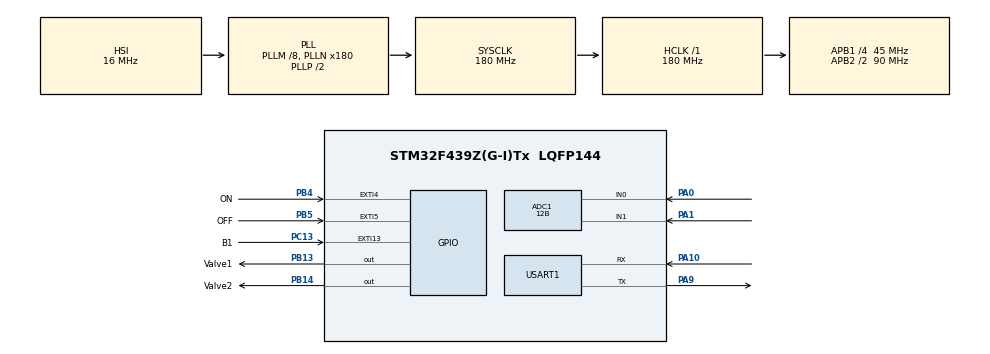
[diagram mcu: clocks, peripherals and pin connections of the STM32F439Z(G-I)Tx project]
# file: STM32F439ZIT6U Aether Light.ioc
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ADC1.Channel-0\#ChannelRegularConversion=ADC_CHANNEL_0
ADC1.ContinuousConvMode=ENABLE
ADC1.DMAContinuousRequests=ENABLE
ADC1.DiscontinuousConvMode=DISABLE
ADC1.EOCSelection=ADC_EOC_SEQ_CONV
ADC1.EnableAnalogWatchDog=false
ADC1.InjNumberOfConversion=0
ADC1.NbrOfConversion=1
ADC1.NbrOfConversionFlag=1
ADC1.Rank-0\#ChannelRegularConversion=1
ADC1.Resolution=ADC_RESOLUTION_12B
ADC1.SamplingTime-0\#ChannelRegularConversion=ADC_SAMPLETIME_3CYCLES
ADC1.ScanConvMode=ENABLE
ADC1.master=1
Dma.ADC1.0.Direction=DMA_PERIPH_TO_MEMORY
Dma.ADC1.0.FIFOMode=DMA_FIFOMODE_DISABLE
Dma.ADC1.0.Instance=DMA2_Stream0
Dma.ADC1.0.MemDataAlignment=DMA_MDATAALIGN_HALFWORD
Dma.ADC1.0.MemInc=DMA_MINC_ENABLE
Dma.ADC1.0.Mode=DMA_CIRCULAR
Dma.ADC1.0.PeriphDataAlignment=DMA_PDATAALIGN_HALFWORD
Dma.ADC1.0.PeriphInc=DMA_PINC_DISABLE
Dma.ADC1.0.Priority=DMA_PRIORITY_LOW
Dma.Request0=ADC1
Dma.Request1=USART1_RX
Dma.Request2=USART1_TX
Dma.USART1_RX.1.Direction=DMA_PERIPH_TO_MEMORY
Dma.USART1_RX.1.FIFOMode=DMA_FIFOMODE_DISABLE
Dma.USART1_RX.1.Instance=DMA2_Stream2
Dma.USART1_RX.1.MemDataAlignment=DMA_MDATAALIGN_BYTE
Dma.USART1_RX.1.MemInc=DMA_MINC_ENABLE
Dma.USART1_RX.1.Mode=DMA_NORMAL
Dma.USART1_RX.1.PeriphDataAlignment=DMA_PDATAALIGN_BYTE
Dma.USART1_RX.1.PeriphInc=DMA_PINC_DISABLE
Dma.USART1_RX.1.Priority=DMA_PRIORITY_LOW
Dma.USART1_TX.2.Direction=DMA_MEMORY_TO_PERIPH
Dma.USART1_TX.2.FIFOMode=DMA_FIFOMODE_DISABLE
Dma.USART1_TX.2.Instance=DMA2_Stream7
Dma.USART1_TX.2.MemDataAlignment=DMA_MDATAALIGN_BYTE
Dma.USART1_TX.2.MemInc=DMA_MINC_ENABLE
Dma.USART1_TX.2.Mode=DMA_NORMAL
Dma.USART1_TX.2.PeriphDataAlignment=DMA_PDATAALIGN_BYTE
Dma.USART1_TX.2.PeriphInc=DMA_PINC_DISABLE
Dma.USART1_TX.2.Priority=DMA_PRIORITY_LOW
Mcu.Family=STM32F4
Mcu.Name=STM32F439Z(G-I)Tx
Mcu.Package=LQFP144
NVIC.ADC_IRQn=true\:0\:0\:false\:false\:true\:true\:true
NVIC.DMA2_Stream0_IRQn=true\:1\:0\:true\:false\:true\:false\:true
NVIC.DMA2_Stream2_IRQn=true\:1\:0\:true\:false\:true\:false\:true
NVIC.DMA2_Stream7_IRQn=true\:1\:0\:true\:false\:true\:false\:true
NVIC.EXTI15_10_IRQn=true\:0\:0\:true\:false\:true\:true\:true
NVIC.EXTI4_IRQn=true\:0\:0\:false\:false\:true\:true\:true
NVIC.EXTI9_5_IRQn=true\:0\:0\:false\:false\:true\:true\:true
NVIC.PriorityGroup=NVIC_PRIORITYGROUP_4
NVIC.TIM3_IRQn=true\:0\:0\:false\:false\:true\:true\:true
NVIC.USART1_IRQn=true\:1\:0\:true\:false\:true\:true\:true
PA0/WKUP.Signal=ADCx_IN0
PA1.Signal=ADCx_IN1
PA10.Mode=Asynchronous
PA10.Signal=USART1_RX
PA9.Mode=Asynchronous
PA9.Signal=USART1_TX
PB13.GPIO_Label=Valve1
PB13.Signal=GPIO_Output
PB14.GPIO_Label=Valve2
PB14.Signal=GPIO_Output
PB4.GPIO_Label=ON
PB4.GPIO_PuPd=GPIO_PULLDOWN
PB4.Signal=GPXTI4
PB5.GPIO_Label=OFF
PB5.GPIO_PuPd=GPIO_PULLDOWN
PB5.Signal=GPXTI5
PC13.GPIO_Label=B1
PC13.GPIO_PuPd=GPIO_PULLDOWN
PC13.Signal=GPXTI13
ProjectManager.HeapSize=0x200
ProjectManager.StackSize=0x400
ProjectManager.TargetToolchain=STM32CubeIDE
RCC.48MHZClocksFreq_Value=90000000
RCC.AHBFreq_Value=180000000
RCC.APB1CLKDivider=RCC_HCLK_DIV4
RCC.APB1Freq_Value=45000000
RCC.APB1TimFreq_Value=90000000
RCC.APB2CLKDivider=RCC_HCLK_DIV2
RCC.APB2Freq_Value=90000000
RCC.APB2TimFreq_Value=180000000
RCC.CortexFreq_Value=180000000
RCC.HCLKFreq_Value=180000000
RCC.HSE_VALUE=25000000
RCC.HSI_VALUE=16000000
RCC.LSE_VALUE=32768
RCC.PLLM=8
RCC.PLLN=180
RCC.SYSCLKFreq_VALUE=180000000
RCC.SYSCLKSource=RCC_SYSCLKSOURCE_PLLCLK
RCC.VCOOutputFreq_Value=360000000
SH.ADCx_IN0.0=ADC1_IN0,IN0
SH.ADCx_IN1.0=ADC1_IN1,IN1
TIM3.Period=8000
TIM3.TIM_MasterOutputTrigger=TIM_TRGO_RESET
USART1.Parity=PARITY_EVEN
USART1.StopBits=STOPBITS_2
USART1.VirtualMode=VM_ASYNC
USART1.WordLength=WORDLENGTH_9B
VP_RTC_VS_RTC_Activate.Mode=RTC_Enabled
VP_TIM3_VS_ClockSourceINT.Mode=Internal
board=custom

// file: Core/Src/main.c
/* USER CODE BEGIN Header */
/*
------------------------------------------------------------------------------
   Project	: Ventilator control system
   File     : main.c
   Brief    : Source file for the main.c file. This software was developed
   	   	   	  on the NUCLEO F439ZI development board.
   Author 	: Nicholas Antoniades
------------------------------------------------------------------------------
*/
/* USER CODE END Header */
#include "main.h"
#include "adc.h"
#include "dma.h"
#include "rtc.h"
#include "tim.h"
#include "usart.h"
#include "gpio.h"

/* USER CODE BEGIN Includes */
#include <string.h>
#include <stdio.h>
#include <math.h>
/* USER CODE END Includes */

void SystemClock_Config(void);

/* USER CODE BEGIN 0 */

// Variables to be initialized for UART: HMI
#define HMIBufferSize 12			  		 // UART buffer size
uint8_t HMI_tx_buff[HMIBufferSize] = {0};	 // UART Transmit buffer
uint8_t HMI_rx_buff[HMIBufferSize] = {0};	 // UART Receive buffer

// Variables to initialized for ADC
#define  numADCchannels 1 		       // Set this value to be the number of channels
uint32_t value_adc[numADCchannels];    // Buffer size, 32 bit for 12 bit ADC resolution
float pressure;						   // Variable to hold the ADC value for pressure

// Variables to be initialized for timer interrupts
uint8_t toggleValue;

// Variables required for functions
// Convert to 8-bit
uint8_t eightBitResult[4];

//serial comms
uint8_t buf[12];

// Control
uint8_t run = 0;

/* USER CODE END 0 */

int main(void)
{

  /* MCU Configuration--------------------------------------------------------*/

  /* Reset of all peripherals, Initializes the Flash interface and the Systick. */
  HAL_Init();

  /* Configure the system clock */
  SystemClock_Config();

  /* Initialize all configured peripherals */
  MX_GPIO_Init();
  MX_DMA_Init();
  MX_ADC1_Init();
  MX_USART1_UART_Init();
  MX_RTC_Init();
  MX_TIM3_Init();
  /* USER CODE BEGIN 2 */

  while(run == 0){
	  __NOP();
  }

  htim3.Instance = TIM3;
  htim3.Init.Prescaler = 13000;
  if (HAL_TIM_Base_Init(&htim3) != HAL_OK)
  {
    Error_Handler();
  }
  HAL_TIM_Base_Start_IT(&htim3);

  // Setting initial valve conditions
  HAL_GPIO_WritePin(GPIOB, Valve1_Pin, 0);
  HAL_GPIO_WritePin(GPIOB, Valve2_Pin, 1);
  /* USER CODE END 2 */

  /* Infinite loop */
  /* USER CODE BEGIN WHILE */

  while (1)
  {

	  HAL_Delay(50);

	// Toggling DMA streams for messaging and reading ADC values
	if(toggleValue == 1){
		HAL_ADC_Stop_DMA(&hadc1); 		// Close ADC DMA stream
		UARTSendDMA(eightBitResult, pressure, HMI_tx_buff, HMI_rx_buff);
		toggleValue = 0;
	}else{
		HAL_UART_DMAStop(&huart1); // Close UART DMA stream
		HAL_ADC_Start_DMA(&hadc1, value_adc,numADCchannels);
		toggleValue = 1;
	}
  }
    /* USER CODE END WHILE */

}

void SystemClock_Config(void)
{
  RCC_OscInitTypeDef RCC_OscInitStruct = {0};
  RCC_ClkInitTypeDef RCC_ClkInitStruct = {0};
  RCC_PeriphCLKInitTypeDef PeriphClkInitStruct = {0};

  /** Configure the main internal regulator output voltage
  */
  __HAL_RCC_PWR_CLK_ENABLE();
  __HAL_PWR_VOLTAGESCALING_CONFIG(PWR_REGULATOR_VOLTAGE_SCALE1);
  /** Initializes the RCC Oscillators according to the specified parameters
  * in the RCC_OscInitTypeDef structure.
  */
  RCC_OscInitStruct.OscillatorType = RCC_OSCILLATORTYPE_HSI|RCC_OSCILLATORTYPE_LSI;
  RCC_OscInitStruct.HSIState = RCC_HSI_ON;
  RCC_OscInitStruct.HSICalibrationValue = RCC_HSICALIBRATION_DEFAULT;
  RCC_OscInitStruct.LSIState = RCC_LSI_ON;
  RCC_OscInitStruct.PLL.PLLState = RCC_PLL_ON;
  RCC_OscInitStruct.PLL.PLLSource = RCC_PLLSOURCE_HSI;
  RCC_OscInitStruct.PLL.PLLM = 8;
  RCC_OscInitStruct.PLL.PLLN = 180;
  RCC_OscInitStruct.PLL.PLLP = RCC_PLLP_DIV2;
  RCC_OscInitStruct.PLL.PLLQ = 4;
  if (HAL_RCC_OscConfig(&RCC_OscInitStruct) != HAL_OK)
  {
    Error_Handler();
  }
  /** Activate the Over-Drive mode
  */
  if (HAL_PWREx_EnableOverDrive() != HAL_OK)
  {
    Error_Handler();
  }
  /** Initializes the CPU, AHB and APB buses clocks
  */
  RCC_ClkInitStruct.ClockType = RCC_CLOCKTYPE_HCLK|RCC_CLOCKTYPE_SYSCLK
                              |RCC_CLOCKTYPE_PCLK1|RCC_CLOCKTYPE_PCLK2;
  RCC_ClkInitStruct.SYSCLKSource = RCC_SYSCLKSOURCE_PLLCLK;
  RCC_ClkInitStruct.AHBCLKDivider = RCC_SYSCLK_DIV1;
  RCC_ClkInitStruct.APB1CLKDivider = RCC_HCLK_DIV4;
  RCC_ClkInitStruct.APB2CLKDivider = RCC_HCLK_DIV2;

  if (HAL_RCC_ClockConfig(&RCC_ClkInitStruct, FLASH_LATENCY_5) != HAL_OK)
  {
    Error_Handler();
  }
  PeriphClkInitStruct.PeriphClockSelection = RCC_PERIPHCLK_RTC;
  PeriphClkInitStruct.RTCClockSelection = RCC_RTCCLKSOURCE_LSI;
  if (HAL_RCCEx_PeriphCLKConfig(&PeriphClkInitStruct) != HAL_OK)
  {
    Error_Handler();
  }
}

/* USER CODE BEGIN 4 */
void HAL_TIM_PeriodElapsedCallback(TIM_HandleTypeDef *htim){

	// Code to run inside of handler
	HAL_GPIO_TogglePin(GPIOB, Valve1_Pin);
	HAL_GPIO_TogglePin(GPIOB, Valve2_Pin);
	// Start interrupt again
	HAL_TIM_Base_Start_IT(&htim3);
}

void HAL_GPIO_EXTI_Callback( uint16_t GPIO_Pin){
	switch(GPIO_Pin){

		case ON_Pin:
			 run = 1;
		break;

		case OFF_Pin:

			__NOP();
		break;
	}
}

void UARTSendDMA(uint8_t eightBitResult[4], float pressure,	uint8_t HMI_tx_buff[HMIBufferSize], uint8_t HMI_rx_buff[HMIBufferSize]) {
	// Pressure value for comms
	CTBVTFEBV(eightBitResult, (uint16_t) pressure);
	HMI_tx_buff[0] = eightBitResult[0];
	HMI_tx_buff[1] = eightBitResult[1];
	HMI_tx_buff[11] = 255; // Good message check
	HAL_UART_Transmit(&huart1, HMI_tx_buff, HMIBufferSize, 0XFF);

	//HAL_UART_Transmit_DMA(&huart1, HMI_tx_buff, HMIBufferSize); // Send
	//HAL_UART_Receive_DMA(&huart1, HMI_rx_buff, HMIBufferSize); // Receive
}
void CTBVTFEBV(uint8_t *eightBitresult,uint32_t value){  //Convert a 32 bit value to 4 bytes
	uint8_t eightBitpart1 = 0;
	uint8_t eightBitpart2 = 0;
	uint8_t eightBitpart3 = 0;
	uint8_t eightBitpart4 = 0;
	int counter = 0;
    int digit;

	while (value > 0) {
	 digit = value % 10; // e.g. 13 % 10 = 3
	 switch(counter){
		 case 0:
			 eightBitpart1 = digit; // e.g. = 3
	 	 	 break;
		 case 1:
			 eightBitpart1 = eightBitpart1 + digit*10 ; // e.g. = 3 = 1*10
	 	 	 break;
		 case 2:
			 eightBitpart2 = digit;
	 	 	 break;
		 case 3:
			 eightBitpart2 = eightBitpart2 + digit*10;
	 	 	 break;
		 case 4:
			 eightBitpart3 = digit;
	 	 	 break;
		 case 5:
			 eightBitpart3 = eightBitpart3 + digit*10 ;
	 	 	 break;
		 case 6:
			 eightBitpart4 = digit;
	 	 	 break;
		 case 7:
			 eightBitpart4 = eightBitpart3 + digit*10;
	 	 	 break;
		default:
		 	 break;
	 }
	 counter ++;
	 value /= 10;
	}
	eightBitresult[0] = eightBitpart1;
	eightBitresult[1] = eightBitpart2;
	eightBitresult[2] = eightBitpart3;
	eightBitresult[3] = eightBitpart4;
}
uint8_t CheckSum(uint8_t CommandArray[]){
	uint8_t CheckSum = 0;

	for(int i = 0; i<8; i ++){
		CheckSum += CommandArray[i];
	}
	return CheckSum;
}
void HoneyWellPressure(uint8_t PressureBuffer[4], uint8_t StatusHoneywell,uint8_t PressureHoneywell, uint8_t TempHoneywell) {
	// Reading in from Honeywell pressure sensor

	// *** fix this ***//
	I2C_read(0x28 << 1, 0x28 << 1, PressureBuffer, PressureBuffer);		  // Read in status
	StatusHoneywell = (PressureBuffer[0] & 0xc0);
	PressureHoneywell = (((PressureBuffer[0] << 8) | PressureBuffer[1])); // Read in Pressure
	TempHoneywell = (((PressureBuffer[3] << 8) | PressureBuffer[4])); 	  // Read in Temperature
}
void HAL_ADC_ConvCpltCallback(ADC_HandleTypeDef* hadc){
	// Function that is called at the end of each ADC conversion.
	pressure = (((float)value_adc[0]*10)/(4096-2055)-10.0686)*10.1972;  // Pressure in kPa -> cm H2O
	//pressure = value_adc[0];
	HAL_ADC_Stop_DMA(&hadc1);
}

void HAL_UART_TxCpltCallback (UART_HandleTypeDef *huart){
	//HAL_UART_Start_DMA(&huart1, HMI_rx_buff, HMIBufferSize);
	//HAL_UART_DMAStop(&huart1);

	if(huart == &huart1){
	  //HAL_GPIO_WritePin(UART_RSE_GPIO_Port,UART_RSE_Pin, 0); // Toggle RSE pin to send message over RS485
	}
}
void HAL_UART_RxCpltCallback(UART_HandleTypeDef *huart){
	//HAL_UART_Receive_DMA(&huart1, HMI_rx_buff, HMIBufferSize);

	// Messages recieved from TMCL
	if(huart == &huart1){
		//HAL_GPIO_WritePin(UART_RSE_GPIO_Port,UART_RSE_Pin, GPIO_PIN_SET); // Toggle RSE pin to send message over RS485
	}

    // Messages received from HMI
	if(huart == &huart1){
		   switch (HMI_rx_buff[0])
		   {
		       // Start ventilation
			   case 0:
					  break;

			   // Stop and reset
			   case 1:
					break;

			   //Update ventilation states
			   case 2:
					break;

			   // Calibrate system
			   case 3:
					break;

			   // Return current system state
			   case 4:
				   break;

			   default:	break;
		   }
	}

	HAL_UART_DMAStop(&huart1);	// Close DMA stream
}

/* USER CODE END 4 */

void Error_Handler(void)
{
}

/************************ (C) COPYRIGHT STMicroelectronics *****END OF FILE****/
